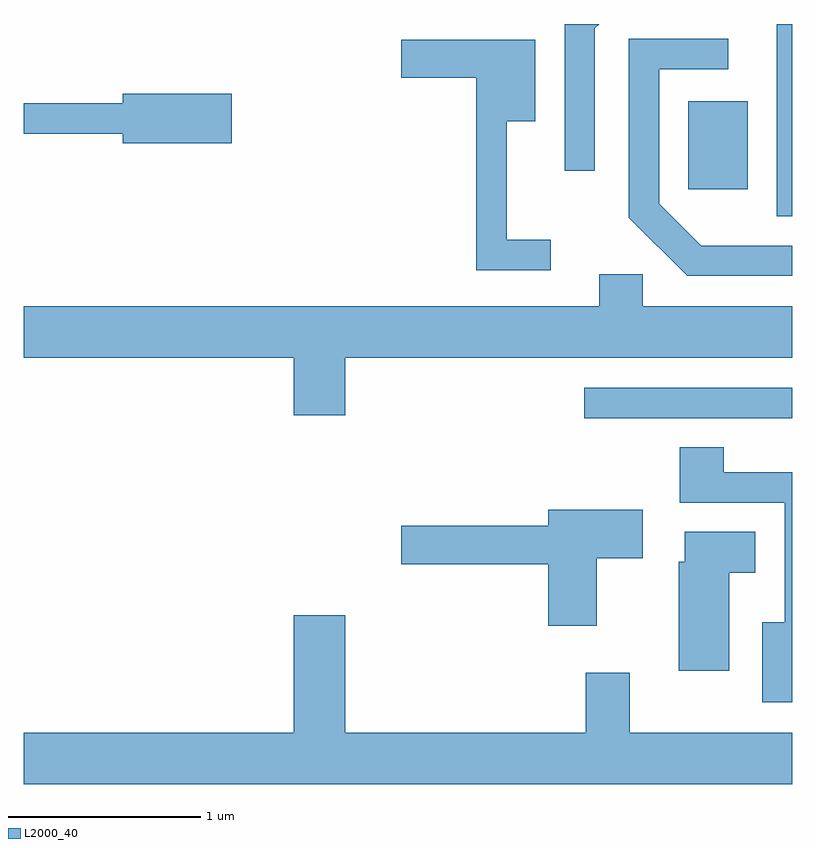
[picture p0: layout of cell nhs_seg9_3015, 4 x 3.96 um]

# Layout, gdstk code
import gdstk
lib = gdstk.Library(unit=1e-6, precision=1e-09)
def R(c, l, rs):  # rectangles x0, y0, x1, y1
    for r in rs: c.add(gdstk.rectangle(r[:2], r[2:], *l))
def P(c, l, *ps):  # polygons
    for p in ps: c.add(gdstk.Polygon(p, *l))
L2000_40 = (2000, 40)

nhs_seg9_3015 = lib.new_cell('nhs_seg9_3015')
R(nhs_seg9_3015, L2000_40, [(276.528,2000.381,277.611,2000.539), (277.531,2001.431,277.611,2002.432), (277.071,2001.571,277.379,2002.029)])
P(nhs_seg9_3015, L2000_40, [(276.584,2002.409),(276.607,2002.432),(276.426,2002.432),(276.426,2001.668),(276.584,2001.668)],
  [(277.611,2001.279),(277.137,2001.279),(276.919,2001.497),(276.919,2002.196),(277.278,2002.196),(277.278,2002.354),(276.761,2002.354),(276.761,2001.424),(277.064,2001.121),(277.611,2001.121)],
  [(276.353,2001.309),(276.124,2001.309),(276.124,2001.926),(276.274,2001.926),(276.274,2002.349),(275.576,2002.349),(275.576,2002.151),(275.966,2002.151),(275.966,2001.151),(276.353,2001.151)],
  [(274.694,2002.069),(274.126,2002.069),(274.126,2002.019),(273.611,2002.019),(273.611,2001.861),(274.126,2001.861),(274.126,2001.811),(274.694,2001.811)],
  [(277.611,2000.964),(276.834,2000.964),(276.834,2001.129),(276.606,2001.129),(276.606,2000.964),(273.611,2000.964),(273.611,2000.696),(275.016,2000.696),(275.016,2000.396),(275.284,2000.396),(275.284,2000.696),(277.611,2000.696)],
  [(277.611,2000.099),(277.254,2000.099),(277.254,2000.229),(277.026,2000.229),(277.026,1999.941),(277.571,1999.941),(277.571,1999.319),(277.456,1999.319),(277.456,1998.901),(277.611,1998.901)],
  [(276.594,1999.651),(276.834,1999.651),(276.834,1999.904),(276.341,1999.904),(276.341,1999.819),(275.576,1999.819),(275.576,1999.621),(276.341,1999.621),(276.341,1999.301),(276.594,1999.301)],
  [(277.284,1999.576),(277.419,1999.576),(277.419,1999.789),(277.051,1999.789),(277.051,1999.634),(277.021,1999.634),(277.021,1999.066),(277.284,1999.066)],
  [(277.611,1998.744),(276.764,1998.744),(276.764,1999.054),(276.536,1999.054),(276.536,1998.744),(275.284,1998.744),(275.284,1999.354),(275.016,1999.354),(275.016,1998.744),(273.611,1998.744),(273.611,1998.476),(277.611,1998.476)])

lib.write_gds('nhs_seg9_3015.gds')
